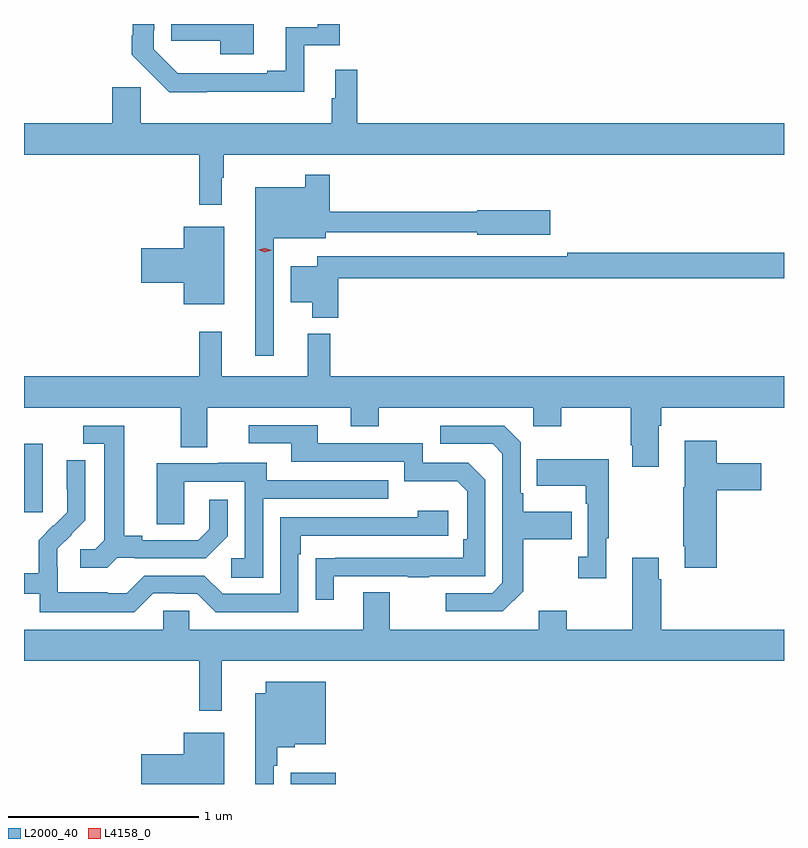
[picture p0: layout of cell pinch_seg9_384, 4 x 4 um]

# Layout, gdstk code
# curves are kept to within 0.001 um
import gdstk
lib = gdstk.Library(unit=1e-6, precision=1e-09)
def R(c, l, rs):  # rectangles x0, y0, x1, y1
    for r in rs: c.add(gdstk.rectangle(r[:2], r[2:], *l))
def P(c, l, *ps):  # polygons
    for p in ps: c.add(gdstk.Polygon(p, *l))
L2000_40 = (2000, 40)
L4158_0 = (4158, 0)

pinch_seg9_384 = lib.new_cell('pinch_seg9_384')
R(pinch_seg9_384, L2000_40, [(346.851,1235.731,347.086,1235.791), (345.446,1237.161,345.544,1237.522)])
P(pinch_seg9_384, L2000_40, [(346.409,1239.374),(346.921,1239.374),(346.921,1239.618),(347.108,1239.618),(347.108,1239.731),(346.992,1239.731),(346.992,1239.714),(346.823,1239.714),(346.823,1239.484),(346.727,1239.484),(346.727,1239.471),(346.254,1239.472),(346.128,1239.597),(346.128,1239.697),(346.131,1239.697),(346.131,1239.731),(346.019,1239.731),(346.019,1239.671),(346.013,1239.671),(346.013,1239.569),(346.21,1239.372),(346.409,1239.372)],
  [(346.654,1239.731),(346.221,1239.731),(346.221,1239.644),(346.478,1239.644),(346.478,1239.572),(346.654,1239.572)],
  [(346.486,1238.921),(346.498,1238.921),(346.498,1239.044),(349.446,1239.044),(349.446,1239.208),(347.201,1239.208),(347.201,1239.49),(347.084,1239.49),(347.084,1239.341),(347.065,1239.341),(347.065,1239.208),(346.061,1239.208),(346.061,1239.399),(345.911,1239.399),(345.911,1239.208),(345.446,1239.208),(345.446,1239.044),(346.369,1239.044),(346.369,1238.781),(346.486,1238.781)],
  [(346.761,1238.603),(347.035,1238.603),(347.035,1238.634),(347.832,1238.634),(347.832,1238.621),(348.217,1238.621),(348.217,1238.751),(347.832,1238.751),(347.832,1238.743),(347.054,1238.743),(347.054,1238.938),(346.926,1238.938),(346.926,1238.872),(346.664,1238.872),(346.664,1237.986),(346.761,1237.986)],
  [(346.501,1238.665),(346.286,1238.665),(346.286,1238.552),(346.062,1238.552),(346.062,1238.369),(346.286,1238.369),(346.286,1238.255),(346.501,1238.255)],
  [(347.099,1238.392),(349.446,1238.392),(349.446,1238.528),(348.304,1238.528),(348.304,1238.508),(346.989,1238.508),(346.989,1238.455),(346.85,1238.455),(346.85,1238.267),(346.964,1238.267),(346.964,1238.186),(347.099,1238.186)],
  [(348.787,1237.616),(348.8,1237.616),(348.8,1237.712),(349.446,1237.712),(349.446,1237.876),(347.057,1237.876),(347.057,1238.101),(346.94,1238.101),(346.94,1237.876),(346.487,1237.876),(346.487,1238.11),(346.369,1238.11),(346.369,1237.876),(345.446,1237.876),(345.446,1237.712),(346.271,1237.712),(346.271,1237.504),(346.411,1237.504),(346.411,1237.712),(347.165,1237.712),(347.165,1237.613),(347.313,1237.613),(347.313,1237.712),(348.126,1237.712),(348.126,1237.613),(348.273,1237.613),(348.273,1237.712),(348.64,1237.712),(348.64,1237.513),(348.647,1237.513),(348.647,1237.401),(348.787,1237.401)],
  [(347.077,1236.825),(347.467,1236.825),(347.467,1236.82),(347.579,1236.82),(347.579,1236.825),(347.874,1236.825),(347.874,1237.332),(347.784,1237.422),(347.544,1237.422),(347.544,1237.524),(346.993,1237.524),(346.993,1237.62),(346.629,1237.62),(346.629,1237.524),(346.853,1237.524),(346.853,1237.428),(347.448,1237.428),(347.448,1237.325),(347.725,1237.325),(347.778,1237.272),(347.778,1237.018),(347.758,1237.018),(347.758,1236.921),(346.981,1236.92),(346.981,1236.702),(347.077,1236.702)],
  [(345.936,1236.921),(346.03,1236.921),(346.03,1236.918),(346.402,1236.918),(346.518,1237.034),(346.518,1237.228),(346.421,1237.228),(346.421,1237.071),(346.364,1237.014),(346.069,1237.014),(346.069,1237.037),(345.973,1237.037),(345.973,1237.617),(345.759,1237.617),(345.759,1237.521),(345.869,1237.521),(345.869,1237.013),(345.822,1236.966),(345.741,1236.966),(345.741,1236.869),(345.884,1236.869)],
  [(348.073,1236.745),(348.073,1237.018),(348.329,1237.018),(348.329,1237.165),(348.073,1237.165),(348.073,1237.261),(348.06,1237.261),(348.06,1237.53),(347.973,1237.617),(347.637,1237.617),(347.637,1237.521),(347.913,1237.521),(347.964,1237.47),(347.964,1236.789),(347.91,1236.735),(347.667,1236.735),(347.667,1236.639),(347.967,1236.639)],
  [(349.091,1237.277),(349.327,1237.277),(349.327,1237.419),(349.091,1237.419),(349.091,1237.537),(348.923,1237.537),(348.923,1237.293),(348.916,1237.293),(348.916,1236.982),(348.923,1236.982),(348.923,1236.87),(349.091,1236.87)],
  [(348.511,1237.025),(348.523,1237.025),(348.523,1237.441),(348.145,1237.441),(348.145,1237.301),(348.402,1237.301),(348.402,1237.205),(348.414,1237.205),(348.414,1236.926),(348.363,1236.926),(348.363,1236.813),(348.511,1236.813)],
  [(346.125,1236.735),(346.241,1236.735),(346.241,1236.732),(346.359,1236.732),(346.455,1236.636),(346.89,1236.636),(346.89,1236.941),(346.903,1236.941),(346.903,1237.038),(347.68,1237.038),(347.68,1237.168),(347.519,1237.168),(347.519,1237.134),(346.794,1237.134),(346.794,1236.732),(346.491,1236.732),(346.395,1236.828),(346.08,1236.828),(345.987,1236.735),(345.887,1236.735),(345.887,1236.739),(345.624,1236.739),(345.624,1236.873),(345.622,1236.873),(345.622,1236.97),(345.768,1237.118),(345.768,1237.436),(345.672,1237.436),(345.672,1237.282),(345.674,1237.282),(345.674,1237.16),(345.603,1237.089),(345.6,1237.092),(345.523,1237.015),(345.523,1236.841),(345.446,1236.841),(345.446,1236.732),(345.528,1236.732),(345.528,1236.635),(346.025,1236.635)],
  [(346.704,1237.233),(347.363,1237.233),(347.363,1237.329),(346.723,1237.329),(346.723,1237.423),(346.469,1237.423),(346.469,1237.419),(346.145,1237.419),(346.145,1237.099),(346.29,1237.099),(346.29,1237.323),(346.608,1237.323),(346.608,1236.918),(346.536,1236.918),(346.536,1236.817),(346.704,1236.817)],
  [(346.488,1236.38),(349.446,1236.38),(349.446,1236.544),(348.8,1236.544),(348.8,1236.809),(348.787,1236.809),(348.787,1236.922),(348.647,1236.922),(348.647,1236.544),(348.303,1236.544),(348.303,1236.643),(348.155,1236.643),(348.155,1236.544),(347.371,1236.544),(347.371,1236.739),(347.231,1236.739),(347.231,1236.544),(346.317,1236.544),(346.317,1236.642),(346.179,1236.642),(346.179,1236.544),(345.446,1236.544),(345.446,1236.38),(346.369,1236.38),(346.369,1236.117),(346.488,1236.117)],
  [(346.761,1235.828),(346.779,1235.828),(346.779,1235.924),(346.872,1235.924),(346.872,1235.939),(347.035,1235.939),(347.035,1236.268),(346.718,1236.268),(346.718,1236.208),(346.664,1236.208),(346.664,1235.731),(346.761,1235.731)],
  [(346.501,1236.001),(346.286,1236.001),(346.286,1235.888),(346.062,1235.888),(346.062,1235.731),(346.501,1235.731)])
P(pinch_seg9_384, L4158_0, [(346.714,1238.531),(346.68,1238.543),(346.68,1238.544),(346.68,1238.544),(346.716,1238.551),(346.751,1238.539),(346.751,1238.539),(346.751,1238.539)])

lib.write_gds('pinch_seg9_384.gds')
